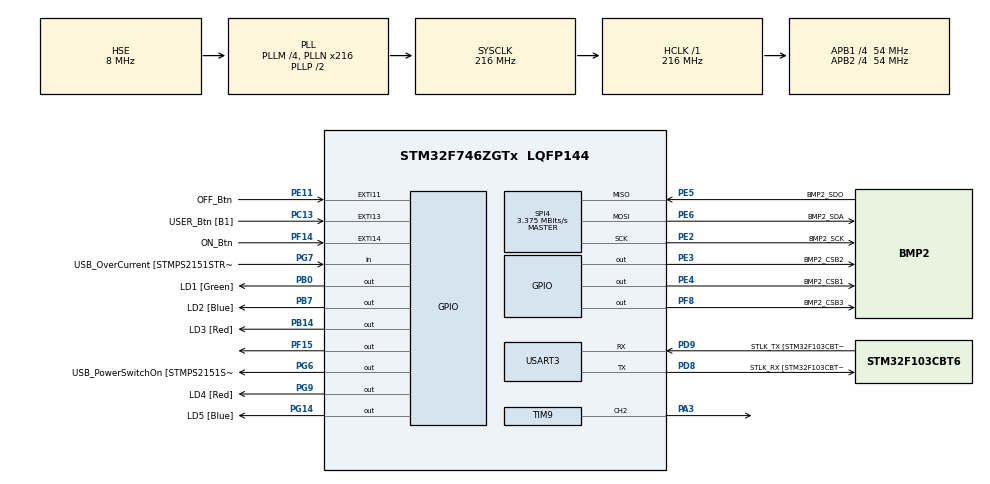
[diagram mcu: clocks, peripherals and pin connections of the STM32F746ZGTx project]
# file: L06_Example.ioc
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Mcu.Family=STM32F7
Mcu.Name=STM32F746ZGTx
Mcu.Package=LQFP144
NVIC.PriorityGroup=NVIC_PRIORITYGROUP_4
NVIC.USART3_IRQn=true\:0\:0\:false\:false\:true\:true\:true\:true
PA1.GPIO_Label=RMII_REF_CLK [LAN8742A-CZ-TR_REFCLK0]
PA1.Signal=ETH_REF_CLK
PA10.GPIO_Label=USB_ID
PA10.Signal=USB_OTG_FS_ID
PA11.GPIO_Label=USB_DM
PA11.Signal=USB_OTG_FS_DM
PA12.GPIO_Label=USB_DP
PA12.Signal=USB_OTG_FS_DP
PA13.GPIO_Label=TMS
PA13.Mode=Serial_Wire
PA13.Signal=SYS_JTMS-SWDIO
PA14.GPIO_Label=TCK
PA14.Mode=Serial_Wire
PA14.Signal=SYS_JTCK-SWCLK
PA2.GPIO_Label=RMII_MDIO [LAN8742A-CZ-TR_MDIO]
PA2.Signal=ETH_MDIO
PA3.Signal=S_TIM9_CH2
PA7.GPIO_Label=RMII_CRS_DV [LAN8742A-CZ-TR_CRS_DV]
PA7.Signal=ETH_CRS_DV
PA8.GPIO_Label=USB_SOF [TP1]
PA8.Signal=USB_OTG_FS_SOF
PA9.GPIO_Label=USB_VBUS
PA9.Signal=USB_OTG_FS_VBUS
PB0.GPIO_Label=LD1 [Green]
PB0.Signal=GPIO_Output
PB13.GPIO_Label=RMII_TXD1 [LAN8742A-CZ-TR_TXD1]
PB13.Signal=ETH_TXD1
PB14.GPIO_Label=LD3 [Red]
PB14.Signal=GPIO_Output
PB3.GPIO_Label=SW0
PB3.Signal=SYS_JTDO-SWO
PB7.GPIO_Label=LD2 [Blue]
PB7.Signal=GPIO_Output
PC1.GPIO_Label=RMII_MDC [LAN8742A-CZ-TR_MDC]
PC1.Signal=ETH_MDC
PC13.GPIO_Label=USER_Btn [B1]
PC13.Signal=GPXTI13
PC14/OSC32_IN.Mode=LSE-External-Oscillator
PC14/OSC32_IN.Signal=RCC_OSC32_IN
PC15/OSC32_OUT.Mode=LSE-External-Oscillator
PC15/OSC32_OUT.Signal=RCC_OSC32_OUT
PC4.GPIO_Label=RMII_RXD0 [LAN8742A-CZ-TR_RXD0]
PC4.Signal=ETH_RXD0
PC5.GPIO_Label=RMII_RXD1 [LAN8742A-CZ-TR_RXD1]
PC5.Signal=ETH_RXD1
PD8.GPIO_Label=STLK_RX [STM32F103CBT6_PA3]
PD8.GPIO_PuPd=GPIO_PULLUP
PD8.Mode=Asynchronous
PD8.Signal=USART3_TX
PD9.GPIO_Label=STLK_TX [STM32F103CBT6_PA2]
PD9.GPIO_PuPd=GPIO_PULLUP
PD9.Mode=Asynchronous
PD9.Signal=USART3_RX
PE11.GPIO_Label=OFF_Btn
PE11.GPIO_PuPd=GPIO_PULLDOWN
PE11.Signal=GPXTI11
PE2.GPIO_Label=BMP2_SCK
PE2.Mode=Full_Duplex_Master
PE2.Signal=SPI4_SCK
PE3.GPIO_Label=BMP2_CSB2
PE3.GPIO_Speed=GPIO_SPEED_FREQ_VERY_HIGH
PE3.PinState=GPIO_PIN_SET
PE3.Signal=GPIO_Output
PE4.GPIO_Label=BMP2_CSB1
PE4.GPIO_Speed=GPIO_SPEED_FREQ_VERY_HIGH
PE4.PinState=GPIO_PIN_SET
PE4.Signal=GPIO_Output
PE5.GPIO_Label=BMP2_SDO
PE5.Mode=Full_Duplex_Master
PE5.Signal=SPI4_MISO
PE6.GPIO_Label=BMP2_SDA
PE6.Mode=Full_Duplex_Master
PE6.Signal=SPI4_MOSI
PF14.GPIO_Label=ON_Btn
PF14.GPIO_ModeDefaultEXTI=GPIO_MODE_IT_FALLING
PF14.GPIO_PuPd=GPIO_PULLUP
PF14.Signal=GPXTI14
PF15.Signal=GPIO_Output
PF8.GPIO_Label=BMP2_CSB3
PF8.GPIO_Speed=GPIO_SPEED_FREQ_VERY_HIGH
PF8.PinState=GPIO_PIN_SET
PF8.Signal=GPIO_Output
PG11.GPIO_Label=RMII_TX_EN [LAN8742A-CZ-TR_TXEN]
PG11.Signal=ETH_TX_EN
PG13.GPIO_Label=RMII_TXD0 [LAN8742A-CZ-TR_TXD0]
PG13.Signal=ETH_TXD0
PG14.GPIO_Label=LD5 [Blue]
PG14.Signal=GPIO_Output
PG6.GPIO_Label=USB_PowerSwitchOn [STMPS2151STR_EN]
PG6.Signal=GPIO_Output
PG7.GPIO_Label=USB_OverCurrent [STMPS2151STR_FAULT]
PG7.Signal=GPIO_Input
PG9.GPIO_Label=LD4 [Red]
PG9.Signal=GPIO_Output
PH0/OSC_IN.GPIO_Label=MCO [STM32F103CBT6_PA8]
PH0/OSC_IN.Mode=HSE-External-Clock-Source
PH0/OSC_IN.Signal=RCC_OSC_IN
PH1/OSC_OUT.Mode=HSE-External-Clock-Source
PH1/OSC_OUT.Signal=RCC_OSC_OUT
ProjectManager.HeapSize=0x200
ProjectManager.StackSize=0x400
ProjectManager.TargetToolchain=STM32CubeIDE
RCC.48MHZClocksFreq_Value=24000000
RCC.AHBFreq_Value=216000000
RCC.APB1CLKDivider=RCC_HCLK_DIV4
RCC.APB1Freq_Value=54000000
RCC.APB1TimFreq_Value=108000000
RCC.APB2CLKDivider=RCC_HCLK_DIV4
RCC.APB2Freq_Value=54000000
RCC.APB2TimFreq_Value=108000000
RCC.CortexFreq_Value=216000000
RCC.HCLKFreq_Value=216000000
RCC.HSE_VALUE=8000000
RCC.HSI_VALUE=16000000
RCC.PLLM=4
RCC.PLLMUL=RCC_PLL_MUL9
RCC.PLLN=216
RCC.PLLQ=3
RCC.PLLSourceVirtual=RCC_PLLSOURCE_HSE
RCC.PRESCALERUSB=RCC_USBCLKSOURCE_PLL_DIV1_5
RCC.SYSCLKFreq_VALUE=216000000
RCC.SYSCLKSource=RCC_SYSCLKSOURCE_PLLCLK
RCC.SYSCLKSourceVirtual=RCC_SYSCLKSOURCE_PLLCLK
RCC.USBFreq_Value=144000000
RCC.VCOOutputFreq_Value=432000000
SH.S_TIM9_CH2.0=TIM9_CH2,PWM Generation2 CH2
SPI4.BaudRatePrescaler=SPI_BAUDRATEPRESCALER_16
SPI4.CLKPhase=SPI_PHASE_2EDGE
SPI4.CLKPolarity=SPI_POLARITY_HIGH
SPI4.CalculateBaudRate=3.375 MBits/s
SPI4.DataSize=SPI_DATASIZE_8BIT
SPI4.Direction=SPI_DIRECTION_2LINES
SPI4.Mode=SPI_MODE_MASTER
SPI4.VirtualType=VM_MASTER
TIM2.Period=24999
TIM2.Prescaler=108
TIM9.Channel-PWM\ Generation2\ CH2=TIM_CHANNEL_2
TIM9.Period=99
TIM9.Prescaler=107
USART3.VirtualMode-Asynchronous=VM_ASYNC
VP_TIM2_VS_ClockSourceINT.Mode=Internal
VP_TIM9_VS_ClockSourceINT.Mode=Internal
board=NUCLEO-F746ZG

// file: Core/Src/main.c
/* USER CODE BEGIN Header */
/**
  ******************************************************************************
  * @file           : main.c
  * @brief          : Main program body
  ******************************************************************************
  * @attention
  *
  * Copyright (c) 2023 STMicroelectronics.
  * All rights reserved.
  *
  * This software is licensed under terms that can be found in the LICENSE file
  * in the root directory of this software component.
  * If no LICENSE file comes with this software, it is provided AS-IS.
  *
  ******************************************************************************
  */
/* USER CODE END Header */
#include "main.h"
#include "spi.h"
#include "tim.h"
#include "usart.h"
#include "gpio.h"

/* USER CODE BEGIN Includes */
#include <stdio.h>
#include <stdlib.h>
#include "bmp2_config.h"
#include "heater_config.h"
/* USER CODE END Includes */

/* USER CODE BEGIN PV */
double temp[BMP2_NUM_OF_SENSORS];            // [degC]
unsigned int temp_int[BMP2_NUM_OF_SENSORS];	 // [mdegC]
double press[BMP2_NUM_OF_SENSORS];           // [hPa]
unsigned int press_int[BMP2_NUM_OF_SENSORS]; // [Pa]

uint8_t tx_buffer[8];
const int tx_msg_len = 3;
/* USER CODE END PV */

void SystemClock_Config(void);

int main(void)
{

  /* MCU Configuration--------------------------------------------------------*/

  /* Reset of all peripherals, Initializes the Flash interface and the Systick. */
  HAL_Init();

  /* Configure the system clock */
  SystemClock_Config();

  /* Initialize all configured peripherals */
  MX_GPIO_Init();
  MX_USART3_UART_Init();
  MX_SPI4_Init();
  MX_TIM2_Init();
  MX_TIM9_Init();
  /* USER CODE BEGIN 2 */
  for(int i = 0; i < BMP2_NUM_OF_SENSORS; i++)
  	  BMP2_Init(&(bmp2dev[i]));
  HEATER_PWM_Init(&hheater);
  HAL_TIM_Base_Start(&htim2);
  HAL_UART_Receive_IT(&huart3, tx_buffer, tx_msg_len);
  /* USER CODE END 2 */

  /* Infinite loop */
  /* USER CODE BEGIN WHILE */
  while (1)
  {
    if(__HAL_TIM_GET_FLAG(&htim2, TIM_FLAG_UPDATE) == SET)
    {
      __HAL_TIM_CLEAR_FLAG(&htim2, TIM_FLAG_UPDATE);

      static unsigned int cnt = 0;
      cnt = (cnt+1) % 4;
      for(int i = 0; i < BMP2_NUM_OF_SENSORS; i++)
      {
        BMP2_ReadData(&(bmp2dev[i]), &(press[i]), &(temp[i]));
        temp_int[i] = 1000*temp[i];
        press_int[i] = 100*press[i];

        if(cnt == 0)
        {
          uint8_t tx_buffer[128];
          int tx_msg_len = sprintf((char*)tx_buffer,
              "{ \"sensor\" : %d, \"temperature\" : %d.%03d, \"pressure\" : %d.%04d }\r\n",
              i,
              temp_int[i] / 1000, temp_int[i] % 1000,
              press_int[i] / 100, press_int[i] % 100);
          HAL_UART_Transmit(&huart3, tx_buffer, tx_msg_len, 100);
        }
      }
    }
    /* USER CODE END WHILE */

  }
}

void SystemClock_Config(void)
{
  RCC_OscInitTypeDef RCC_OscInitStruct = {0};
  RCC_ClkInitTypeDef RCC_ClkInitStruct = {0};

  /** Configure LSE Drive Capability
  */
  HAL_PWR_EnableBkUpAccess();

  /** Configure the main internal regulator output voltage
  */
  __HAL_RCC_PWR_CLK_ENABLE();
  __HAL_PWR_VOLTAGESCALING_CONFIG(PWR_REGULATOR_VOLTAGE_SCALE1);

  /** Initializes the RCC Oscillators according to the specified parameters
  * in the RCC_OscInitTypeDef structure.
  */
  RCC_OscInitStruct.OscillatorType = RCC_OSCILLATORTYPE_HSE;
  RCC_OscInitStruct.HSEState = RCC_HSE_BYPASS;
  RCC_OscInitStruct.PLL.PLLState = RCC_PLL_ON;
  RCC_OscInitStruct.PLL.PLLSource = RCC_PLLSOURCE_HSE;
  RCC_OscInitStruct.PLL.PLLM = 4;
  RCC_OscInitStruct.PLL.PLLN = 216;
  RCC_OscInitStruct.PLL.PLLP = RCC_PLLP_DIV2;
  RCC_OscInitStruct.PLL.PLLQ = 3;
  if (HAL_RCC_OscConfig(&RCC_OscInitStruct) != HAL_OK)
  {
    Error_Handler();
  }

  /** Activate the Over-Drive mode
  */
  if (HAL_PWREx_EnableOverDrive() != HAL_OK)
  {
    Error_Handler();
  }

  /** Initializes the CPU, AHB and APB buses clocks
  */
  RCC_ClkInitStruct.ClockType = RCC_CLOCKTYPE_HCLK|RCC_CLOCKTYPE_SYSCLK
                              |RCC_CLOCKTYPE_PCLK1|RCC_CLOCKTYPE_PCLK2;
  RCC_ClkInitStruct.SYSCLKSource = RCC_SYSCLKSOURCE_PLLCLK;
  RCC_ClkInitStruct.AHBCLKDivider = RCC_SYSCLK_DIV1;
  RCC_ClkInitStruct.APB1CLKDivider = RCC_HCLK_DIV4;
  RCC_ClkInitStruct.APB2CLKDivider = RCC_HCLK_DIV4;

  if (HAL_RCC_ClockConfig(&RCC_ClkInitStruct, FLASH_LATENCY_7) != HAL_OK)
  {
    Error_Handler();
  }
}

void Error_Handler(void)
{
  __disable_irq();
  while (1)
  {
  }
}
